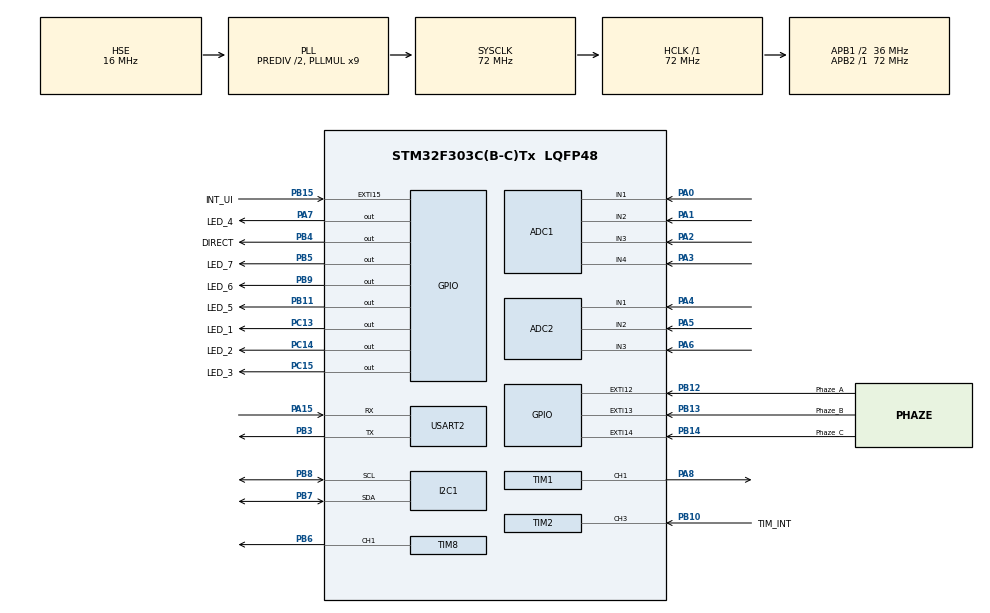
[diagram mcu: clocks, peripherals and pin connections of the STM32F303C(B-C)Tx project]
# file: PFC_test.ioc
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ADC1.Channel-0\#ChannelRegularConversion=ADC_CHANNEL_1
ADC1.EnableInjectedConversion=DISABLE
ADC1.NbrOfConversion=1
ADC1.NbrOfConversionFlag=1
ADC1.Offset-0\#ChannelRegularConversion=0
ADC1.OffsetNumber-0\#ChannelRegularConversion=ADC_OFFSET_NONE
ADC1.Rank-0\#ChannelRegularConversion=1
ADC1.SamplingTime-0\#ChannelRegularConversion=ADC_SAMPLETIME_7CYCLES_5
ADC1.SequencerNbRanks=1
ADC1.master=1
ADC2.Channel-4\#ChannelRegularConversion=ADC_CHANNEL_2
ADC2.Channel-5\#ChannelRegularConversion=ADC_CHANNEL_3
ADC2.ContinuousConvMode=ENABLE
ADC2.ExternalTrigConv=ADC_SOFTWARE_START
ADC2.NbrOfConversion=3
ADC2.NbrOfConversionFlag=1
ADC2.Offset-4\#ChannelRegularConversion=0
ADC2.Offset-5\#ChannelRegularConversion=0
ADC2.OffsetNumber-4\#ChannelRegularConversion=ADC_OFFSET_NONE
ADC2.OffsetNumber-5\#ChannelRegularConversion=ADC_OFFSET_NONE
ADC2.Rank-4\#ChannelRegularConversion=2
ADC2.Rank-5\#ChannelRegularConversion=3
ADC2.SamplingTime-4\#ChannelRegularConversion=ADC_SAMPLETIME_1CYCLE_5
ADC2.SamplingTime-5\#ChannelRegularConversion=ADC_SAMPLETIME_1CYCLE_5
ADC2.SamplingTimeOPAMP-4\#ChannelRegularConversion=ADC_SAMPLETIME_61CYCLES_5
ADC2.SamplingTimeOPAMP-5\#ChannelRegularConversion=ADC_SAMPLETIME_61CYCLES_5
ADC2.SequencerNbRanks=3
Dma.ADC2.2.Direction=DMA_PERIPH_TO_MEMORY
Dma.ADC2.2.Instance=DMA2_Channel1
Dma.ADC2.2.MemDataAlignment=DMA_MDATAALIGN_HALFWORD
Dma.ADC2.2.MemInc=DMA_MINC_ENABLE
Dma.ADC2.2.Mode=DMA_NORMAL
Dma.ADC2.2.PeriphDataAlignment=DMA_PDATAALIGN_HALFWORD
Dma.ADC2.2.PeriphInc=DMA_PINC_DISABLE
Dma.ADC2.2.Priority=DMA_PRIORITY_HIGH
Dma.Request0=USART2_RX
Dma.Request1=USART2_TX
Dma.Request2=ADC2
Dma.USART2_RX.0.Direction=DMA_PERIPH_TO_MEMORY
Dma.USART2_RX.0.Instance=DMA1_Channel6
Dma.USART2_RX.0.MemDataAlignment=DMA_MDATAALIGN_BYTE
Dma.USART2_RX.0.MemInc=DMA_MINC_ENABLE
Dma.USART2_RX.0.Mode=DMA_NORMAL
Dma.USART2_RX.0.PeriphDataAlignment=DMA_PDATAALIGN_BYTE
Dma.USART2_RX.0.PeriphInc=DMA_PINC_DISABLE
Dma.USART2_RX.0.Priority=DMA_PRIORITY_LOW
Dma.USART2_TX.1.Direction=DMA_MEMORY_TO_PERIPH
Dma.USART2_TX.1.Instance=DMA1_Channel7
Dma.USART2_TX.1.MemDataAlignment=DMA_MDATAALIGN_BYTE
Dma.USART2_TX.1.MemInc=DMA_MINC_ENABLE
Dma.USART2_TX.1.Mode=DMA_NORMAL
Dma.USART2_TX.1.PeriphDataAlignment=DMA_PDATAALIGN_BYTE
Dma.USART2_TX.1.PeriphInc=DMA_PINC_DISABLE
Dma.USART2_TX.1.Priority=DMA_PRIORITY_LOW
I2C1.Timing=0x10C18DCC
Mcu.Family=STM32F3
Mcu.Name=STM32F303C(B-C)Tx
Mcu.Package=LQFP48
NVIC.ADC1_2_IRQn=true\:0\:0\:false\:false\:true\:true\:true\:true
NVIC.DMA1_Channel6_IRQn=true\:6\:0\:true\:false\:true\:false\:true\:true
NVIC.DMA1_Channel7_IRQn=true\:6\:0\:true\:false\:true\:false\:true\:true
NVIC.DMA2_Channel1_IRQn=true\:0\:0\:false\:false\:true\:false\:true\:true
NVIC.EXTI15_10_IRQn=true\:5\:0\:true\:false\:true\:true\:true\:true
NVIC.PriorityGroup=NVIC_PRIORITYGROUP_4
NVIC.RCC_IRQn=true\:0\:0\:false\:false\:true\:true\:false\:true
NVIC.TIM3_IRQn=true\:0\:0\:false\:false\:true\:true\:true\:true
NVIC.USART2_IRQn=true\:0\:0\:false\:false\:true\:true\:true\:true
PA0.Mode=IN1-Single-Ended
PA0.Signal=ADC1_IN1
PA1.Mode=IN2-Single-Ended
PA1.Signal=ADC1_IN2
PA13.Mode=Serial_Wire
PA13.Signal=SYS_JTMS-SWDIO
PA14.Mode=Serial_Wire
PA14.Signal=SYS_JTCK-SWCLK
PA15.Mode=Asynchronous
PA15.Signal=USART2_RX
PA2.Mode=IN3-Single-Ended
PA2.Signal=ADC1_IN3
PA3.Mode=IN4-Single-Ended
PA3.Signal=ADC1_IN4
PA4.Mode=IN1-Single-Ended
PA4.Signal=ADC2_IN1
PA5.Mode=IN2-Single-Ended
PA5.Signal=ADC2_IN2
PA6.Mode=IN3-Single-Ended
PA6.Signal=ADC2_IN3
PA7.GPIO_Label=LED_4
PA7.Signal=GPIO_Output
PA8.Signal=S_TIM1_CH1
PB10.GPIO_Label=TIM_INT
PB10.Signal=S_TIM2_CH3
PB11.GPIO_Label=LED_5
PB11.Signal=GPIO_Output
PB12.GPIO_Label=Phaze_A
PB12.GPIO_ModeDefaultEXTI=GPIO_MODE_IT_RISING_FALLING
PB12.Signal=GPXTI12
PB13.GPIO_Label=Phaze_B
PB13.GPIO_ModeDefaultEXTI=GPIO_MODE_IT_RISING_FALLING
PB13.Signal=GPXTI13
PB14.GPIO_Label=Phaze_C
PB14.GPIO_ModeDefaultEXTI=GPIO_MODE_IT_RISING_FALLING
PB14.Signal=GPXTI14
PB15.GPIO_Label=INT_UI
PB15.GPIO_ModeDefaultEXTI=GPIO_MODE_IT_RISING_FALLING
PB15.GPIO_PuPd=GPIO_PULLUP
PB15.Signal=GPXTI15
PB3.Mode=Asynchronous
PB3.Signal=USART2_TX
PB4.GPIO_Label=DIRECT
PB4.Signal=GPIO_Output
PB5.GPIO_Label=LED_7
PB5.Signal=GPIO_Output
PB6.Signal=S_TIM8_CH1
PB7.Mode=I2C
PB7.Signal=I2C1_SDA
PB8.Mode=I2C
PB8.Signal=I2C1_SCL
PB9.GPIO_Label=LED_6
PB9.Signal=GPIO_Output
PC13.GPIO_Label=LED_1
PC13.Signal=GPIO_Output
PC14-OSC32_IN.GPIO_Label=LED_2
PC14-OSC32_IN.Signal=GPIO_Output
PC15-OSC32_OUT.GPIO_Label=LED_3
PC15-OSC32_OUT.Signal=GPIO_Output
PF0-OSC_IN.Mode=HSE-External-Oscillator
PF0-OSC_IN.Signal=RCC_OSC_IN
PF1-OSC_OUT.Mode=HSE-External-Oscillator
PF1-OSC_OUT.Signal=RCC_OSC_OUT
ProjectManager.HeapSize=0x200
ProjectManager.StackSize=0x400
ProjectManager.TargetToolchain=STM32CubeIDE
RCC.AHBFreq_Value=72000000
RCC.APB1CLKDivider=RCC_HCLK_DIV2
RCC.APB1Freq_Value=36000000
RCC.APB1TimFreq_Value=72000000
RCC.APB2Freq_Value=72000000
RCC.APB2TimFreq_Value=72000000
RCC.CortexFreq_Value=72000000
RCC.HCLKFreq_Value=72000000
RCC.HSE_VALUE=16000000
RCC.HSI_VALUE=8000000
RCC.I2c1ClockSelection=RCC_I2C1CLKSOURCE_SYSCLK
RCC.LSE_VALUE=32768
RCC.PLLMUL=RCC_PLL_MUL9
RCC.PLLSourceVirtual=RCC_PLLSOURCE_HSE
RCC.RCC_PLLsource_Clock_Source_FROM_HSE=RCC_HSE_PREDIV_DIV2
RCC.SYSCLKFreq_VALUE=72000000
RCC.SYSCLKSourceVirtual=RCC_SYSCLKSOURCE_PLLCLK
RCC.USBFreq_Value=72000000
SH.S_TIM1_CH1.0=TIM1_CH1,PWM Generation1 CH1
SH.S_TIM2_CH3.0=TIM2_CH3,Input_Capture3_from_TI3
SH.S_TIM8_CH1.0=TIM8_CH1,PWM Generation1 CH1
TIM1.AutoReloadPreload=TIM_AUTORELOAD_PRELOAD_ENABLE
TIM1.Channel-PWM\ Generation1\ CH1=TIM_CHANNEL_1
TIM1.Period=1000
TIM1.Pulse-PWM\ Generation1\ CH1=50
TIM2.Channel-Input_Capture3_from_TI3=TIM_CHANNEL_3
TIM2.Channel-Input_Capture4_from_TI3_63=TIM_CHANNEL_4
TIM2.ICFilter_CH3=12
TIM2.ICPolarity_CH4=TIM_INPUTCHANNELPOLARITY_FALLING
TIM3.AutoReloadPreload=TIM_AUTORELOAD_PRELOAD_ENABLE
TIM3.Period=40000
TIM3.Prescaler=0
TIM8.Channel-PWM\ Generation1\ CH1=TIM_CHANNEL_1
USART2.VirtualMode-Asynchronous=VM_ASYNC
VP_ADC1_TempSens_Input.Mode=IN-TempSens
VP_ADC1_Vref_Input.Mode=IN-Vrefint
VP_TIM1_VS_ClockSourceINT.Mode=Internal
VP_TIM2_VS_ClockSourceINT.Mode=Internal
VP_TIM2_VS_indirect_ch3.Mode=Input_Capture4_from_TI3_63
VP_TIM3_VS_ClockSourceINT.Mode=Internal
board=custom

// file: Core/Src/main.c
/* USER CODE BEGIN Header */
/**
  ******************************************************************************
  * @file           : main.c
  * @brief          : Main program body
  ******************************************************************************
  * @attention
  *
  * Copyright (c) 2023 STMicroelectronics.
  * All rights reserved.
  *
  * This software is licensed under terms that can be found in the LICENSE file
  * in the root directory of this software component.
  * If no LICENSE file comes with this software, it is provided AS-IS.
  *
  ******************************************************************************
  */
/* USER CODE END Header */
#include "main.h"

/* USER CODE BEGIN Includes */
#include "I2C_display.h"
#include "I2C_interface.h"
#include "menu.h"
#include "modbusDevice.h"
#include "modbusSlave.h"
#include "ADC_1.h"
#include "Registers_handler.h"
#include "stdio.h"
#include "stdbool.h"
#include <stdint.h>
#include <stddef.h>
/* USER CODE END Includes */

ADC_HandleTypeDef hadc1;
ADC_HandleTypeDef hadc2;
DMA_HandleTypeDef hdma_adc2;

I2C_HandleTypeDef hi2c1;

TIM_HandleTypeDef htim1;
TIM_HandleTypeDef htim2;
TIM_HandleTypeDef htim3;
TIM_HandleTypeDef htim8;

UART_HandleTypeDef huart2;
DMA_HandleTypeDef hdma_usart2_rx;
DMA_HandleTypeDef hdma_usart2_tx;

/* USER CODE BEGIN PV */
bool BLDC_STATE[3] = {0,0,0};
Menu menu;

int rpm=0;
bool flag=0;
bool buttons_states[8];

 uint8_t adc_flag=0;

#define ADC_BUFFER_SIZE 64
#define RX_BUFFER_SIZE 64
#define MIN_ADC 250
#define NUM_ITERATIONS 21
#define PHAZE_UPDATE 600
#define MIDIAN 1462

#define USART_TIMEOUT 2000 // Таймаут в миллисекундах
#define LONG_BUTTON_PRESS 2000

 uint32_t  button_press=0;
 uint32_t lastActivityTime = 0;
 uint32_t UpdateMenuTime=0;

 uint16_t UpdatePhaze_1=0;
 uint16_t UpdatePhaze_2=0;
 uint16_t UpdatePhaze_3=0;
 bool Phaze_1_Error=0;
 bool Phaze_2_Error=0;
 bool Phaze_3_Error=0;

 // Массивы для хранения времени последнего переключения для каждого светодиода
 static uint32_t led_last_toggle_time[7] = {0};  // �?спользуем 4 для учета индексов от 1 до 3
 static uint8_t led_state[7] = {0};  // Массив для хранения состояния светодиодов

 bool usartBusy = false;
 uint32_t pwm_buck=0;
 uint16_t adc_buffer_1[ADC_BUFFER_SIZE]={0, };
 uint32_t adc_values[6]={0, };
 uint32_t period=0;
 uint32_t PulseWidth=0;

 uint16_t ADC_1_MAX=0;
 uint16_t ADC_2_MAX=0;
 uint16_t ADC_3_MAX=0;

 uint16_t ADC_1_MID=MIDIAN;
 uint16_t ADC_2_MID=MIDIAN;
 uint16_t ADC_3_MID=MIDIAN;

 uint16_t ADC_1_MIN=0;
 uint16_t ADC_2_MIN=0;
 uint16_t ADC_3_MIN=0;

 float VAC1=0;
 float VAC2=0;
 float VAC3=0;

 uint16_t adc_count=0;
 uint16_t adc_array[192]={0, };
 float f=0;

 uint8_t rxFrame[RX_BUFFER_SIZE];
 uint8_t txFrame[255];
 uint8_t SLAVE_ID=1;
 uint16_t data_reg[64]={0,};
 uint16_t rcv_data_reg[64]={0,};
/* USER CODE END PV */

void SystemClock_Config(void);
static void MX_GPIO_Init(void);
static void MX_DMA_Init(void);
static void MX_TIM1_Init(void);
static void MX_ADC1_Init(void);
static void MX_I2C1_Init(void);
static void MX_USART2_UART_Init(void);
static void MX_ADC2_Init(void);
static void MX_TIM8_Init(void);
static void MX_TIM2_Init(void);
static void MX_TIM3_Init(void);
/* USER CODE BEGIN PFP */
void Check_USART2_Timeout(void);
void Reset_USART2(void);
/* USER CODE END PFP */

/* USER CODE BEGIN 0 */

void Check_USART2_Timeout(void)
{
    if (HAL_GetTick() - lastActivityTime >= USART_TIMEOUT)
    {

        Reset_USART2();
    }
}

void ALARM_LED(uint8_t LED) {
    // Убедитесь, что LED в допустимом диапазоне
    if (LED < 1 || LED > 7) return;

    uint32_t current_time = HAL_GetTick();

    // Проверка, прошло ли достаточно времени для переключения светодиода
    if ((current_time - led_last_toggle_time[LED]) >= TOGLE_TIME) {
        // Переключите состояние светодиода
        switch (LED) {
            case 1:
                LED_1_Togle;
                led_state[1] = !led_state[1];  // Обновить состояние светодиода
                break;
            case 2:
            	LED_2_Togle;
                led_state[2] = !led_state[2];
                break;
            case 3:
            	LED_3_Togle;
                led_state[3] = !led_state[3];
                break;
            case 4:
				LED_4_Togle;
				led_state[4] = !led_state[4];
				break;
        }

        // Обновите время последнего переключения
        led_last_toggle_time[LED] = current_time;
    }
}

void Reset_USART2(void)
{
    // Остановите передачу и прием, если они активны
    HAL_UART_DMAStop(&huart2);
    HAL_DMA_Abort(&hdma_usart2_rx);
    HAL_DMA_Abort(&hdma_usart2_tx);

    // Отключите прерывания
    __HAL_UART_DISABLE_IT(&huart2, UART_IT_IDLE);
    __HAL_UART_DISABLE_IT(&huart2, UART_IT_TC);
    __HAL_UART_DISABLE_IT(&huart2, UART_IT_RXNE);

    // Сбросьте периферийный модуль USART2
    __HAL_RCC_USART2_FORCE_RESET();
    HAL_Delay(1); // Дождитесь завершения сброса
    __HAL_RCC_USART2_RELEASE_RESET();

    // �?нициализируйте периферийный модуль USART2 заново
   // HAL_UART_Init(&huart2);
    MX_DMA_Init();
    MX_USART2_UART_Init();
    // Настройте DMA и запустите прием
    HAL_UARTEx_ReceiveToIdle_DMA(&huart2, rxFrame, RX_BUFFER_SIZE);
    __HAL_UART_ENABLE_IT(&huart2, UART_IT_IDLE);
    __HAL_DMA_DISABLE_IT(&hdma_usart2_rx, DMA_IT_HT);

    // Обновление времени последней активности
    lastActivityTime = HAL_GetTick();

}

/* USER CODE END 0 */

int main(void)
{

  /* MCU Configuration--------------------------------------------------------*/

  /* Reset of all peripherals, Initializes the Flash interface and the Systick. */
  HAL_Init();

  /* Configure the system clock */
  SystemClock_Config();

  /* Initialize all configured peripherals */
  MX_GPIO_Init();
  MX_DMA_Init();
  MX_TIM1_Init();
  MX_ADC1_Init();
  MX_I2C1_Init();
  MX_USART2_UART_Init();
  MX_ADC2_Init();
  MX_TIM8_Init();
  MX_TIM2_Init();
  MX_TIM3_Init();
  /* USER CODE BEGIN 2 */
  HAL_Delay(1000);
   LED_1_ON;
   LED_2_ON;
   LED_3_ON;
   LED_4_ON;
   LED_5_ON;
   LED_6_ON;
   LED_7_ON;
   TX_2;

          HAL_UARTEx_ReceiveToIdle_DMA(&huart2, rxFrame, RX_BUFFER_SIZE);
          __HAL_DMA_DISABLE_IT(&hdma_usart2_rx, DMA_IT_HT);

 HAL_ADCEx_Calibration_Start(&hadc2, ADC_SINGLE_ENDED);
 HAL_ADCEx_Calibration_Start(&hadc1, ADC_SINGLE_ENDED);
 HAL_Delay(100);
 RX_2;

 HAL_Delay(100);
 lcd_init();
 lcd_clear();
 Menu_Init(&menu);
 HAL_TIM_Base_Start_IT(&htim3);
  HAL_ADC_Start_DMA(&hadc2, (uint16_t*)adc_buffer_1,ADC_BUFFER_SIZE);
  HAL_Delay(100);
  /* USER CODE END 2 */

  /* Infinite loop */
  /* USER CODE BEGIN WHILE */
  while (1)
  {

	  if((HAL_GetTick()-UpdateMenuTime)>=1000){
	  Menu_UpdateDisplay(&menu);
       UpdateMenuTime= HAL_GetTick();
       }

	//  MX_ADC1_Init();
	//  Read_ADC_Values(adc_values, 6);

	  if((HAL_GetTick()-UpdatePhaze_1)>= PHAZE_UPDATE){Phaze_1_Error=true; ALARM_LED(1);}else Phaze_1_Error=false;
	  if((HAL_GetTick()-UpdatePhaze_2)>= PHAZE_UPDATE){Phaze_2_Error=true; ALARM_LED(2);}else Phaze_2_Error=false;
	  if((HAL_GetTick()-UpdatePhaze_3)>= PHAZE_UPDATE){Phaze_3_Error=true; ALARM_LED(3);}else Phaze_3_Error=false;

   //    UpdateMenuTime= HAL_GetTick();

	  Check_USART2_Timeout();
	  if(adc_flag==1){

		//  IND_1_ON;

        //  MX_ADC1_Init();
		//  Read_ADC_Values(adc_values, 6);
          Get_Buttons_States(buttons_states);
          data_reg[0]=170;
          data_reg[1]=63;
          data_reg[3]=31;
          data_reg[4]=25;

               //   IND_1_OFF;

	  	          adc_buffer_1[0]=0;
	  	          adc_buffer_1[1]=0;
	  	          adc_buffer_1[2]=0;

 		          adc_flag=0;
 		       //  LED_5_ON;
	  		   //   HAL_ADC_Start_DMA(&hadc2, (uint16_t*)adc_buffer_1,ADC_BUFFER_SIZE);
 		          }

    /* USER CODE END WHILE */

  }
}

void SystemClock_Config(void)
{
  RCC_OscInitTypeDef RCC_OscInitStruct = {0};
  RCC_ClkInitTypeDef RCC_ClkInitStruct = {0};
  RCC_PeriphCLKInitTypeDef PeriphClkInit = {0};

  /** Initializes the RCC Oscillators according to the specified parameters
  * in the RCC_OscInitTypeDef structure.
  */
  RCC_OscInitStruct.OscillatorType = RCC_OSCILLATORTYPE_HSE;
  RCC_OscInitStruct.HSEState = RCC_HSE_ON;
  RCC_OscInitStruct.HSEPredivValue = RCC_HSE_PREDIV_DIV2;
  RCC_OscInitStruct.HSIState = RCC_HSI_ON;
  RCC_OscInitStruct.PLL.PLLState = RCC_PLL_ON;
  RCC_OscInitStruct.PLL.PLLSource = RCC_PLLSOURCE_HSE;
  RCC_OscInitStruct.PLL.PLLMUL = RCC_PLL_MUL9;
  if (HAL_RCC_OscConfig(&RCC_OscInitStruct) != HAL_OK)
  {
    Error_Handler();
  }

  /** Initializes the CPU, AHB and APB buses clocks
  */
  RCC_ClkInitStruct.ClockType = RCC_CLOCKTYPE_HCLK|RCC_CLOCKTYPE_SYSCLK
                              |RCC_CLOCKTYPE_PCLK1|RCC_CLOCKTYPE_PCLK2;
  RCC_ClkInitStruct.SYSCLKSource = RCC_SYSCLKSOURCE_PLLCLK;
  RCC_ClkInitStruct.AHBCLKDivider = RCC_SYSCLK_DIV1;
  RCC_ClkInitStruct.APB1CLKDivider = RCC_HCLK_DIV2;
  RCC_ClkInitStruct.APB2CLKDivider = RCC_HCLK_DIV1;

  if (HAL_RCC_ClockConfig(&RCC_ClkInitStruct, FLASH_LATENCY_2) != HAL_OK)
  {
    Error_Handler();
  }
  PeriphClkInit.PeriphClockSelection = RCC_PERIPHCLK_USART2|RCC_PERIPHCLK_I2C1
                              |RCC_PERIPHCLK_TIM1|RCC_PERIPHCLK_TIM8
                              |RCC_PERIPHCLK_ADC12;
  PeriphClkInit.Usart2ClockSelection = RCC_USART2CLKSOURCE_PCLK1;
  PeriphClkInit.Adc12ClockSelection = RCC_ADC12PLLCLK_DIV1;
  PeriphClkInit.I2c1ClockSelection = RCC_I2C1CLKSOURCE_SYSCLK;
  PeriphClkInit.Tim1ClockSelection = RCC_TIM1CLK_HCLK;
  PeriphClkInit.Tim8ClockSelection = RCC_TIM8CLK_HCLK;
  if (HAL_RCCEx_PeriphCLKConfig(&PeriphClkInit) != HAL_OK)
  {
    Error_Handler();
  }
}

static void MX_ADC1_Init(void)
{

  ADC_MultiModeTypeDef multimode = {0};
  ADC_ChannelConfTypeDef sConfig = {0};

  /** Common config
  */
  hadc1.Instance = ADC1;
  hadc1.Init.ClockPrescaler = ADC_CLOCK_ASYNC_DIV1;
  hadc1.Init.Resolution = ADC_RESOLUTION_12B;
  hadc1.Init.ScanConvMode = ADC_SCAN_DISABLE;
  hadc1.Init.ContinuousConvMode = DISABLE;
  hadc1.Init.DiscontinuousConvMode = DISABLE;
  hadc1.Init.ExternalTrigConvEdge = ADC_EXTERNALTRIGCONVEDGE_NONE;
  hadc1.Init.ExternalTrigConv = ADC_SOFTWARE_START;
  hadc1.Init.DataAlign = ADC_DATAALIGN_RIGHT;
  hadc1.Init.NbrOfConversion = 1;
  hadc1.Init.DMAContinuousRequests = DISABLE;
  hadc1.Init.EOCSelection = ADC_EOC_SINGLE_CONV;
  hadc1.Init.LowPowerAutoWait = DISABLE;
  hadc1.Init.Overrun = ADC_OVR_DATA_OVERWRITTEN;
  if (HAL_ADC_Init(&hadc1) != HAL_OK)
  {
    Error_Handler();
  }

  /** Configure the ADC multi-mode
  */
  multimode.Mode = ADC_MODE_INDEPENDENT;
  if (HAL_ADCEx_MultiModeConfigChannel(&hadc1, &multimode) != HAL_OK)
  {
    Error_Handler();
  }

  /** Configure Regular Channel
  */
  sConfig.Channel = ADC_CHANNEL_1;
  sConfig.Rank = ADC_REGULAR_RANK_1;
  sConfig.SingleDiff = ADC_SINGLE_ENDED;
  sConfig.SamplingTime = ADC_SAMPLETIME_7CYCLES_5;
  sConfig.OffsetNumber = ADC_OFFSET_NONE;
  sConfig.Offset = 0;
  if (HAL_ADC_ConfigChannel(&hadc1, &sConfig) != HAL_OK)
  {
    Error_Handler();
  }

}

static void MX_ADC2_Init(void)
{

  ADC_ChannelConfTypeDef sConfig = {0};

  /** Common config
  */
  hadc2.Instance = ADC2;
  hadc2.Init.ClockPrescaler = ADC_CLOCK_ASYNC_DIV1;
  hadc2.Init.Resolution = ADC_RESOLUTION_12B;
  hadc2.Init.ScanConvMode = ADC_SCAN_ENABLE;
  hadc2.Init.ContinuousConvMode = ENABLE;
  hadc2.Init.DiscontinuousConvMode = DISABLE;
  hadc2.Init.ExternalTrigConvEdge = ADC_EXTERNALTRIGCONVEDGE_NONE;
  hadc2.Init.ExternalTrigConv = ADC_SOFTWARE_START;
  hadc2.Init.DataAlign = ADC_DATAALIGN_RIGHT;
  hadc2.Init.NbrOfConversion = 3;
  hadc2.Init.DMAContinuousRequests = DISABLE;
  hadc2.Init.EOCSelection = ADC_EOC_SINGLE_CONV;
  hadc2.Init.LowPowerAutoWait = DISABLE;
  hadc2.Init.Overrun = ADC_OVR_DATA_OVERWRITTEN;
  if (HAL_ADC_Init(&hadc2) != HAL_OK)
  {
    Error_Handler();
  }

  /** Configure Regular Channel
  */
  sConfig.Channel = ADC_CHANNEL_1;
  sConfig.Rank = ADC_REGULAR_RANK_1;
  sConfig.SingleDiff = ADC_SINGLE_ENDED;
  sConfig.SamplingTime = ADC_SAMPLETIME_1CYCLE_5;
  sConfig.OffsetNumber = ADC_OFFSET_NONE;
  sConfig.Offset = 0;
  if (HAL_ADC_ConfigChannel(&hadc2, &sConfig) != HAL_OK)
  {
    Error_Handler();
  }

  /** Configure Regular Channel
  */
  sConfig.Channel = ADC_CHANNEL_2;
  sConfig.Rank = ADC_REGULAR_RANK_2;
  if (HAL_ADC_ConfigChannel(&hadc2, &sConfig) != HAL_OK)
  {
    Error_Handler();
  }

  /** Configure Regular Channel
  */
  sConfig.Channel = ADC_CHANNEL_3;
  sConfig.Rank = ADC_REGULAR_RANK_3;
  if (HAL_ADC_ConfigChannel(&hadc2, &sConfig) != HAL_OK)
  {
    Error_Handler();
  }

}

static void MX_I2C1_Init(void)
{

  hi2c1.Instance = I2C1;
  hi2c1.Init.Timing = 0x10C18DCC;
  hi2c1.Init.OwnAddress1 = 0;
  hi2c1.Init.AddressingMode = I2C_ADDRESSINGMODE_7BIT;
  hi2c1.Init.DualAddressMode = I2C_DUALADDRESS_DISABLE;
  hi2c1.Init.OwnAddress2 = 0;
  hi2c1.Init.OwnAddress2Masks = I2C_OA2_NOMASK;
  hi2c1.Init.GeneralCallMode = I2C_GENERALCALL_DISABLE;
  hi2c1.Init.NoStretchMode = I2C_NOSTRETCH_DISABLE;
  if (HAL_I2C_Init(&hi2c1) != HAL_OK)
  {
    Error_Handler();
  }

  /** Configure Analogue filter
  */
  if (HAL_I2CEx_ConfigAnalogFilter(&hi2c1, I2C_ANALOGFILTER_ENABLE) != HAL_OK)
  {
    Error_Handler();
  }

  /** Configure Digital filter
  */
  if (HAL_I2CEx_ConfigDigitalFilter(&hi2c1, 0) != HAL_OK)
  {
    Error_Handler();
  }

}

static void MX_TIM1_Init(void)
{

  TIM_ClockConfigTypeDef sClockSourceConfig = {0};
  TIM_MasterConfigTypeDef sMasterConfig = {0};
  TIM_OC_InitTypeDef sConfigOC = {0};
  TIM_BreakDeadTimeConfigTypeDef sBreakDeadTimeConfig = {0};

  htim1.Instance = TIM1;
  htim1.Init.Prescaler = 0;
  htim1.Init.CounterMode = TIM_COUNTERMODE_UP;
  htim1.Init.Period = 1000;
  htim1.Init.ClockDivision = TIM_CLOCKDIVISION_DIV1;
  htim1.Init.RepetitionCounter = 0;
  htim1.Init.AutoReloadPreload = TIM_AUTORELOAD_PRELOAD_ENABLE;
  if (HAL_TIM_Base_Init(&htim1) != HAL_OK)
  {
    Error_Handler();
  }
  sClockSourceConfig.ClockSource = TIM_CLOCKSOURCE_INTERNAL;
  if (HAL_TIM_ConfigClockSource(&htim1, &sClockSourceConfig) != HAL_OK)
  {
    Error_Handler();
  }
  if (HAL_TIM_PWM_Init(&htim1) != HAL_OK)
  {
    Error_Handler();
  }
  sMasterConfig.MasterOutputTrigger = TIM_TRGO_RESET;
  sMasterConfig.MasterOutputTrigger2 = TIM_TRGO2_RESET;
  sMasterConfig.MasterSlaveMode = TIM_MASTERSLAVEMODE_DISABLE;
  if (HAL_TIMEx_MasterConfigSynchronization(&htim1, &sMasterConfig) != HAL_OK)
  {
    Error_Handler();
  }
  sConfigOC.OCMode = TIM_OCMODE_PWM1;
  sConfigOC.Pulse = 50;
  sConfigOC.OCPolarity = TIM_OCPOLARITY_HIGH;
  sConfigOC.OCNPolarity = TIM_OCNPOLARITY_HIGH;
  sConfigOC.OCFastMode = TIM_OCFAST_DISABLE;
  sConfigOC.OCIdleState = TIM_OCIDLESTATE_RESET;
  sConfigOC.OCNIdleState = TIM_OCNIDLESTATE_RESET;
  if (HAL_TIM_PWM_ConfigChannel(&htim1, &sConfigOC, TIM_CHANNEL_1) != HAL_OK)
  {
    Error_Handler();
  }
  sBreakDeadTimeConfig.OffStateRunMode = TIM_OSSR_DISABLE;
  sBreakDeadTimeConfig.OffStateIDLEMode = TIM_OSSI_DISABLE;
  sBreakDeadTimeConfig.LockLevel = TIM_LOCKLEVEL_OFF;
  sBreakDeadTimeConfig.DeadTime = 0;
  sBreakDeadTimeConfig.BreakState = TIM_BREAK_DISABLE;
  sBreakDeadTimeConfig.BreakPolarity = TIM_BREAKPOLARITY_HIGH;
  sBreakDeadTimeConfig.BreakFilter = 0;
  sBreakDeadTimeConfig.Break2State = TIM_BREAK2_DISABLE;
  sBreakDeadTimeConfig.Break2Polarity = TIM_BREAK2POLARITY_HIGH;
  sBreakDeadTimeConfig.Break2Filter = 0;
  sBreakDeadTimeConfig.AutomaticOutput = TIM_AUTOMATICOUTPUT_DISABLE;
  if (HAL_TIMEx_ConfigBreakDeadTime(&htim1, &sBreakDeadTimeConfig) != HAL_OK)
  {
    Error_Handler();
  }
  HAL_TIM_MspPostInit(&htim1);

}

static void MX_TIM2_Init(void)
{

  TIM_ClockConfigTypeDef sClockSourceConfig = {0};
  TIM_MasterConfigTypeDef sMasterConfig = {0};
  TIM_IC_InitTypeDef sConfigIC = {0};

  htim2.Instance = TIM2;
  htim2.Init.Prescaler = 0;
  htim2.Init.CounterMode = TIM_COUNTERMODE_UP;
  htim2.Init.Period = 4294967295;
  htim2.Init.ClockDivision = TIM_CLOCKDIVISION_DIV1;
  htim2.Init.AutoReloadPreload = TIM_AUTORELOAD_PRELOAD_DISABLE;
  if (HAL_TIM_Base_Init(&htim2) != HAL_OK)
  {
    Error_Handler();
  }
  sClockSourceConfig.ClockSource = TIM_CLOCKSOURCE_INTERNAL;
  if (HAL_TIM_ConfigClockSource(&htim2, &sClockSourceConfig) != HAL_OK)
  {
    Error_Handler();
  }
  if (HAL_TIM_IC_Init(&htim2) != HAL_OK)
  {
    Error_Handler();
  }
  sMasterConfig.MasterOutputTrigger = TIM_TRGO_RESET;
  sMasterConfig.MasterSlaveMode = TIM_MASTERSLAVEMODE_DISABLE;
  if (HAL_TIMEx_MasterConfigSynchronization(&htim2, &sMasterConfig) != HAL_OK)
  {
    Error_Handler();
  }
  sConfigIC.ICPolarity = TIM_INPUTCHANNELPOLARITY_RISING;
  sConfigIC.ICSelection = TIM_ICSELECTION_DIRECTTI;
  sConfigIC.ICPrescaler = TIM_ICPSC_DIV1;
  sConfigIC.ICFilter = 12;
  if (HAL_TIM_IC_ConfigChannel(&htim2, &sConfigIC, TIM_CHANNEL_3) != HAL_OK)
  {
    Error_Handler();
  }
  sConfigIC.ICPolarity = TIM_INPUTCHANNELPOLARITY_FALLING;
  sConfigIC.ICSelection = TIM_ICSELECTION_INDIRECTTI;
  sConfigIC.ICFilter = 0;
  if (HAL_TIM_IC_ConfigChannel(&htim2, &sConfigIC, TIM_CHANNEL_4) != HAL_OK)
  {
    Error_Handler();
  }

}

static void MX_TIM3_Init(void)
{

  TIM_ClockConfigTypeDef sClockSourceConfig = {0};
  TIM_MasterConfigTypeDef sMasterConfig = {0};

  htim3.Instance = TIM3;
  htim3.Init.Prescaler = 0;
  htim3.Init.CounterMode = TIM_COUNTERMODE_UP;
  htim3.Init.Period = 40000;
  htim3.Init.ClockDivision = TIM_CLOCKDIVISION_DIV1;
  htim3.Init.AutoReloadPreload = TIM_AUTORELOAD_PRELOAD_ENABLE;
  if (HAL_TIM_Base_Init(&htim3) != HAL_OK)
  {
    Error_Handler();
  }
  sClockSourceConfig.ClockSource = TIM_CLOCKSOURCE_INTERNAL;
  if (HAL_TIM_ConfigClockSource(&htim3, &sClockSourceConfig) != HAL_OK)
  {
    Error_Handler();
  }
  sMasterConfig.MasterOutputTrigger = TIM_TRGO_RESET;
  sMasterConfig.MasterSlaveMode = TIM_MASTERSLAVEMODE_DISABLE;
  if (HAL_TIMEx_MasterConfigSynchronization(&htim3, &sMasterConfig) != HAL_OK)
  {
    Error_Handler();
  }

}

static void MX_TIM8_Init(void)
{

  TIM_MasterConfigTypeDef sMasterConfig = {0};
  TIM_OC_InitTypeDef sConfigOC = {0};
  TIM_BreakDeadTimeConfigTypeDef sBreakDeadTimeConfig = {0};

  htim8.Instance = TIM8;
  htim8.Init.Prescaler = 0;
  htim8.Init.CounterMode = TIM_COUNTERMODE_UP;
  htim8.Init.Period = 65535;
  htim8.Init.ClockDivision = TIM_CLOCKDIVISION_DIV1;
  htim8.Init.RepetitionCounter = 0;
  htim8.Init.AutoReloadPreload = TIM_AUTORELOAD_PRELOAD_DISABLE;
  if (HAL_TIM_PWM_Init(&htim8) != HAL_OK)
  {
    Error_Handler();
  }
  sMasterConfig.MasterOutputTrigger = TIM_TRGO_RESET;
  sMasterConfig.MasterOutputTrigger2 = TIM_TRGO2_RESET;
  sMasterConfig.MasterSlaveMode = TIM_MASTERSLAVEMODE_DISABLE;
  if (HAL_TIMEx_MasterConfigSynchronization(&htim8, &sMasterConfig) != HAL_OK)
  {
    Error_Handler();
  }
  sConfigOC.OCMode = TIM_OCMODE_PWM1;
  sConfigOC.Pulse = 0;
  sConfigOC.OCPolarity = TIM_OCPOLARITY_HIGH;
  sConfigOC.OCNPolarity = TIM_OCNPOLARITY_HIGH;
  sConfigOC.OCFastMode = TIM_OCFAST_DISABLE;
  sConfigOC.OCIdleState = TIM_OCIDLESTATE_RESET;
  sConfigOC.OCNIdleState = TIM_OCNIDLESTATE_RESET;
  if (HAL_TIM_PWM_ConfigChannel(&htim8, &sConfigOC, TIM_CHANNEL_1) != HAL_OK)
  {
    Error_Handler();
  }
  sBreakDeadTimeConfig.OffStateRunMode = TIM_OSSR_DISABLE;
  sBreakDeadTimeConfig.OffStateIDLEMode = TIM_OSSI_DISABLE;
  sBreakDeadTimeConfig.LockLevel = TIM_LOCKLEVEL_OFF;
  sBreakDeadTimeConfig.DeadTime = 0;
  sBreakDeadTimeConfig.BreakState = TIM_BREAK_DISABLE;
  sBreakDeadTimeConfig.BreakPolarity = TIM_BREAKPOLARITY_HIGH;
  sBreakDeadTimeConfig.BreakFilter = 0;
  sBreakDeadTimeConfig.Break2State = TIM_BREAK2_DISABLE;
  sBreakDeadTimeConfig.Break2Polarity = TIM_BREAK2POLARITY_HIGH;
  sBreakDeadTimeConfig.Break2Filter = 0;
  sBreakDeadTimeConfig.AutomaticOutput = TIM_AUTOMATICOUTPUT_DISABLE;
  if (HAL_TIMEx_ConfigBreakDeadTime(&htim8, &sBreakDeadTimeConfig) != HAL_OK)
  {
    Error_Handler();
  }
  HAL_TIM_MspPostInit(&htim8);

}

static void MX_USART2_UART_Init(void)
{

  huart2.Instance = USART2;
  huart2.Init.BaudRate = 38400;
  huart2.Init.WordLength = UART_WORDLENGTH_8B;
  huart2.Init.StopBits = UART_STOPBITS_1;
  huart2.Init.Parity = UART_PARITY_NONE;
  huart2.Init.Mode = UART_MODE_TX_RX;
  huart2.Init.HwFlowCtl = UART_HWCONTROL_NONE;
  huart2.Init.OverSampling = UART_OVERSAMPLING_16;
  huart2.Init.OneBitSampling = UART_ONE_BIT_SAMPLE_DISABLE;
  huart2.AdvancedInit.AdvFeatureInit = UART_ADVFEATURE_NO_INIT;
  if (HAL_UART_Init(&huart2) != HAL_OK)
  {
    Error_Handler();
  }

}

static void MX_DMA_Init(void)
{

  /* DMA controller clock enable */
  __HAL_RCC_DMA1_CLK_ENABLE();
  __HAL_RCC_DMA2_CLK_ENABLE();

  /* DMA interrupt init */
  /* DMA1_Channel6_IRQn interrupt configuration */
  HAL_NVIC_SetPriority(DMA1_Channel6_IRQn, 6, 0);
  HAL_NVIC_EnableIRQ(DMA1_Channel6_IRQn);
  /* DMA1_Channel7_IRQn interrupt configuration */
  HAL_NVIC_SetPriority(DMA1_Channel7_IRQn, 6, 0);
  HAL_NVIC_EnableIRQ(DMA1_Channel7_IRQn);
  /* DMA2_Channel1_IRQn interrupt configuration */
  HAL_NVIC_SetPriority(DMA2_Channel1_IRQn, 0, 0);
  HAL_NVIC_EnableIRQ(DMA2_Channel1_IRQn);

}

static void MX_GPIO_Init(void)
{
  GPIO_InitTypeDef GPIO_InitStruct = {0};

  /* GPIO Ports Clock Enable */
  __HAL_RCC_GPIOC_CLK_ENABLE();
  __HAL_RCC_GPIOF_CLK_ENABLE();
  __HAL_RCC_GPIOA_CLK_ENABLE();
  __HAL_RCC_GPIOB_CLK_ENABLE();

  /*Configure GPIO pin Output Level */
  HAL_GPIO_WritePin(GPIOC, LED_1_Pin|LED_2_Pin|LED_3_Pin, GPIO_PIN_RESET);

  /*Configure GPIO pin Output Level */
  HAL_GPIO_WritePin(LED_4_GPIO_Port, LED_4_Pin, GPIO_PIN_RESET);

  /*Configure GPIO pin Output Level */
  HAL_GPIO_WritePin(GPIOB, LED_5_Pin|DIRECT_Pin|LED_7_Pin|LED_6_Pin, GPIO_PIN_RESET);

  /*Configure GPIO pins : LED_1_Pin LED_2_Pin LED_3_Pin */
  GPIO_InitStruct.Pin = LED_1_Pin|LED_2_Pin|LED_3_Pin;
  GPIO_InitStruct.Mode = GPIO_MODE_OUTPUT_PP;
  GPIO_InitStruct.Pull = GPIO_NOPULL;
  GPIO_InitStruct.Speed = GPIO_SPEED_FREQ_LOW;
  HAL_GPIO_Init(GPIOC, &GPIO_InitStruct);

  /*Configure GPIO pin : LED_4_Pin */
  GPIO_InitStruct.Pin = LED_4_Pin;
  GPIO_InitStruct.Mode = GPIO_MODE_OUTPUT_PP;
  GPIO_InitStruct.Pull = GPIO_NOPULL;
  GPIO_InitStruct.Speed = GPIO_SPEED_FREQ_LOW;
  HAL_GPIO_Init(LED_4_GPIO_Port, &GPIO_InitStruct);

  /*Configure GPIO pins : LED_5_Pin DIRECT_Pin LED_7_Pin LED_6_Pin */
  GPIO_InitStruct.Pin = LED_5_Pin|DIRECT_Pin|LED_7_Pin|LED_6_Pin;
  GPIO_InitStruct.Mode = GPIO_MODE_OUTPUT_PP;
  GPIO_InitStruct.Pull = GPIO_NOPULL;
  GPIO_InitStruct.Speed = GPIO_SPEED_FREQ_LOW;
  HAL_GPIO_Init(GPIOB, &GPIO_InitStruct);

  /*Configure GPIO pins : Phaze_A_Pin Phaze_B_Pin Phaze_C_Pin */
  GPIO_InitStruct.Pin = Phaze_A_Pin|Phaze_B_Pin|Phaze_C_Pin;
  GPIO_InitStruct.Mode = GPIO_MODE_IT_RISING_FALLING;
  GPIO_InitStruct.Pull = GPIO_NOPULL;
  HAL_GPIO_Init(GPIOB, &GPIO_InitStruct);

  /*Configure GPIO pin : INT_UI_Pin */
  GPIO_InitStruct.Pin = INT_UI_Pin;
  GPIO_InitStruct.Mode = GPIO_MODE_IT_RISING_FALLING;
  GPIO_InitStruct.Pull = GPIO_PULLUP;
  HAL_GPIO_Init(INT_UI_GPIO_Port, &GPIO_InitStruct);

  /* EXTI interrupt init*/
  HAL_NVIC_SetPriority(EXTI15_10_IRQn, 5, 0);
  HAL_NVIC_EnableIRQ(EXTI15_10_IRQn);

}

/* USER CODE BEGIN 4 */

void HAL_TIM_PeriodElapsedCallback(TIM_HandleTypeDef *htim)
{
    if (htim->Instance == TIM3)
    {
    	 LED_5_ON;
    	 HAL_ADC_Start_DMA(&hadc2, (uint16_t*)adc_buffer_1,ADC_BUFFER_SIZE);

    }
}

void HAL_TIM_IC_CaptureCallback(TIM_HandleTypeDef *htim)
{
    if (htim->Instance == TIM2)
    {
        if(htim->Channel == HAL_TIM_ACTIVE_CHANNEL_3)
        {

        	 period = 0;
             TIM2->CNT = 0;
             period = HAL_TIM_ReadCapturedValue(&htim2, TIM_CHANNEL_3);
             PulseWidth = HAL_TIM_ReadCapturedValue(&htim2, TIM_CHANNEL_4);
             f=32000000/period;

          }

        if(htim->Channel == HAL_TIM_ACTIVE_CHANNEL_4)
             {                        }

    }
}

void HAL_GPIO_EXTI_Callback(uint16_t GPIO_Pin)
{

	if(GPIO_Pin == GPIO_PIN_12) // если прерывание поступило от ножки PA1
		   {
			if (GPIO_PIN_SET == HAL_GPIO_ReadPin (GPIOB, GPIO_PIN_12)){

					   LED_1_ON;
                  UpdatePhaze_1=HAL_GetTick();

				   }

			     if (GPIO_PIN_RESET == HAL_GPIO_ReadPin (GPIOB, GPIO_PIN_12)){
			           LED_1_OFF;

			         //  EXTI->PR = EXTI_PR_PR12;

			     }
		   }

	   if(GPIO_Pin == GPIO_PIN_13) // если прерывание поступило от ножки PC13
	   {

		   if (GPIO_PIN_SET == HAL_GPIO_ReadPin (GPIOB, GPIO_PIN_13)){
	              LED_2_ON;}
		      UpdatePhaze_2=HAL_GetTick();

	       if (GPIO_PIN_RESET == HAL_GPIO_ReadPin (GPIOB, GPIO_PIN_13)){
	              LED_2_OFF;
	            //  ADC_2_MAX=0;
	             // EXTI->PR = EXTI_PR_PR13;
	         }}

	   if(GPIO_Pin == GPIO_PIN_14) // если прерывание поступило от ножки PC14
	     {

		   if (GPIO_PIN_SET == HAL_GPIO_ReadPin (GPIOB, GPIO_PIN_14)){
	           LED_3_ON;
	           UpdatePhaze_3=HAL_GetTick();

			  }

		   if (GPIO_PIN_RESET == HAL_GPIO_ReadPin (GPIOB, GPIO_PIN_14)){
	           LED_3_OFF;
	          // ADC_3_MAX=0;
			   }
		       //EXTI->PR = EXTI_PR_PR14;
	       }

   if(GPIO_Pin == GPIO_PIN_15) // если прерывание поступило от ножки 15
      {
	   if (GPIO_PIN_RESET == HAL_GPIO_ReadPin (GPIOB, GPIO_PIN_15)){
          //  button_press = HAL_GetTick();
		   LED_4_ON;
		//   Get_Buttons_States(buttons_states);

		    for (uint8_t i = 0; i < 8; i++) {
		  			     if (buttons_states[i]) {
		  			         Menu_HandleButtonPress(&menu, i + 1);

		  			                   }
		  			               }
		     //EXTI->PR = EXTI_PR_PR15;
	   }

     if (GPIO_PIN_SET == HAL_GPIO_ReadPin (GPIOB, GPIO_PIN_15)){
           LED_4_OFF;

            }

        EXTI->PR = EXTI_PR_PR15;
        }

}

void HAL_UART_TxCpltCallback(UART_HandleTypeDef *huart)

{

	    RX_2;
	    lastActivityTime = HAL_GetTick();
	    HAL_UARTEx_ReceiveToIdle_DMA(&huart2, rxFrame,RX_BUFFER_SIZE);
	    __HAL_UART_ENABLE_IT(&huart2, UART_IT_IDLE);
	    __HAL_DMA_DISABLE_IT(&hdma_usart2_rx, DMA_IT_HT);

}

void HAL_UARTEx_RxEventCallback(UART_HandleTypeDef *huart, uint16_t Size)
{
	if (huart->Instance == USART2)
	{
		lastActivityTime = HAL_GetTick();

	    __HAL_UART_DISABLE_IT(&huart2, UART_IT_IDLE);

	    HAL_DMA_Abort(&hdma_usart2_rx);

	    Registers_handler(rxFrame, data_reg, rcv_data_reg);

	}
}

void HAL_ADC_ConvCpltCallback(ADC_HandleTypeDef* hadc) {

    if(hadc->Instance == ADC2) {

        HAL_ADC_Stop_DMA(&hadc2);
     //   MX_ADC1_Init();
     //   Read_ADC_Values(adc_values, 6);

      /*  uint16_t temp_max[3] = {0};
        uint16_t temp_min[3] = {0, 0, 0};

        // Обработка буфера
        for (int i = 0; i < ADC_BUFFER_SIZE-2; i += 3) {
            uint16_t channel1_value = adc_buffer_1[i];
            uint16_t channel2_value = adc_buffer_1[i + 1];
            uint16_t channel3_value = adc_buffer_1[i + 2];

            temp_min[0] = temp_min[0]+channel1_value;
            temp_min[1] = temp_min[1]+channel2_value;
            temp_min[2] = temp_min[2]+channel3_value;

        }

        temp_min[0] = temp_min[0]/21;

        temp_min[1] = temp_min[1]/21;

        temp_min[2] = temp_min[2]/21;

        adc_flag = 1;

        if(ADC_1_MAX<=adc_buffer_1[0]){ADC_1_MAX=adc_buffer_1[0];}
        if(ADC_2_MAX<=adc_buffer_1[1]){ADC_2_MAX=adc_buffer_1[1];}
        if(ADC_3_MAX<=adc_buffer_1[2]){ADC_3_MAX=adc_buffer_1[2];}

     //   if((Phaze_1_Error==true)||(Phaze_2_Error==true)||(Phaze_2_Error==true)){
     //   ADC_1_MID=temp_min[0];
     //   ADC_2_MID=temp_min[1];
     //   ADC_3_MID=temp_min[2];}

       VAC1= (ADC_1_MAX-ADC_1_MID)*0.25/0.707;
       */
       LED_5_OFF;
    }
}
/* USER CODE END 4 */

void Error_Handler(void)
{
  __disable_irq();
  while (1)
  {
  }
}
